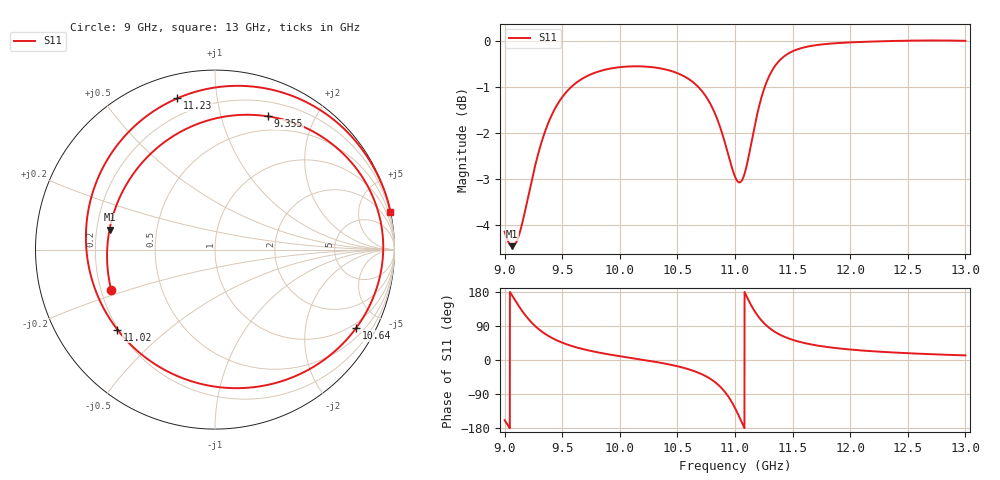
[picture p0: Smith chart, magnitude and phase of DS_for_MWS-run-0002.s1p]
! TOUCHSTONE file generated by CST DESIGN STUDIO
! Date and time: Tue Feb  4 18:21:06 2025
! Project name: C:\Work\MatlabApps\UnitCellOptimizationMatlab\CST\unitcell.cst
! Tree item: Tasks\Sweep1\SPara1\S-Parameters
! Header version: 2024
! Port assignment regex: !\s*Touchstone port\s*([0-9]+)\s*=\s*(CST MWS port|CST DES external port|CST DES block port)\s*(.+)\s* \(\"(.*)\"\)(\s*mode\s*([0-9]+))?.*
! Touchstone port assignment:
! Touchstone port 1 = CST DES external port 1 ("")
# GHz S MA R 50
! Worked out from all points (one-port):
!   4001 points, 9 GHz to 13 GHz, reference 50 ohm
!   lowest |S11| = -4.5 dB at 9.067 GHz (marker M1), VSWR 3.98, Z = 12.7 + j4.4 ohm
!   |S11| at or under -10 dB: nowhere
!   S11 on the Smith chart (normalised r, x): 9 GHz: 0.24, -0.18; 9.355 GHz: 0.35, +1.42; 10.64 GHz: 0.81, -3.70; 11.02 GHz: 0.20, -0.34; 11.23 GHz: 0.11, +0.78; 13 GHz: 0.03, +9.37
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9  0.6203 -158.8
9.067  0.5982 169.3
9.141  0.6249 134.3
9.206  0.6783 108.4
9.274  0.739 87.1
9.355  0.7992 68.2
9.5  0.8681 45.8
9.707  0.9139 26.8
10  0.9357 10.0
10.5  0.9217 -16.5
10.643  0.8996 -29.0
10.748  0.8695 -42.9
10.834  0.8289 -60.2
10.929  0.7618 -90.9
10.966  0.7331 -107.9
11  0.7117 -126.6
11.023  0.7032 -140.7
11.069  0.7088 -171.1
11.112  0.7417 161.0
11.172  0.809 128.1
11.231  0.8687 104.0
11.285  0.9083 87.8
11.355  0.9413 72.6
11.5  0.9736 53.2
11.7  0.9885 38.9
12  0.9954 27.7
12.5  0.9998 17.9
13  0.9994 12.2
